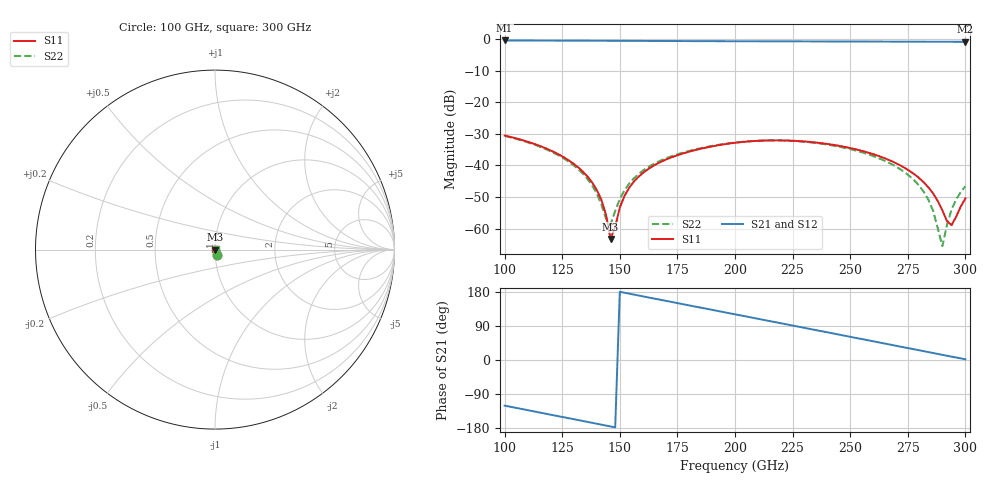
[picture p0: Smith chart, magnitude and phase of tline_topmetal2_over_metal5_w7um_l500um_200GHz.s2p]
#  GHZ S DB R 50
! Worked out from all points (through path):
!   101 points, 100 GHz to 300 GHz, reference 50 ohm
!   highest |S21| = -0.48 dB at 100 GHz (marker M1); lowest = -0.9 dB at 300 GHz (marker M2)
!   group delay of S21, straight-line fit = 3.3 ps
!   lowest |S11| = -63.2 dB at 146 GHz (marker M3), VSWR 1.00, Z = 50 - j0.0617 ohm
!   |S11| at or under -10 dB: start of sweep to end of sweep
!   |S22| runs from -65.5 to -30.7 dB; largest |S21 - S12| = 1.1e-14
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100  -30.52 -72.5  -0.48 -120.4  -0.48 -120.4  -30.65 -72.0
120  -35.26 -94.2  -0.53 -144.3  -0.53 -144.3  -35.55 -92.9
134  -41.96 -107.7  -0.56 -161.0  -0.56 -161.0  -42.62 -103.8
138  -45.38 -110.0  -0.57 -165.8  -0.57 -165.8  -46.32 -103.5
142  -50.86 -108.7  -0.58 -170.5  -0.58 -170.5  -52.32 -93.7
144  -55.57 -101.7  -0.58 -172.9  -0.58 -172.9  -56.83 -72.0
146  -63.20 -63.0  -0.59 -175.3  -0.59 -175.3  -58.58 -19.4
150  -53.31 33.7  -0.60 179.9  -0.60 179.9  -50.61 27.2
154  -47.12 37.9  -0.61 175.1  -0.61 175.1  -45.80 32.7
160  -42.37 34.9  -0.63 168.0  -0.63 168.0  -41.64 31.3
168  -38.80 28.2  -0.65 158.5  -0.65 158.5  -38.35 25.6
200  -32.83 -3.6  -0.73 120.6  -0.73 120.6  -32.75 -4.5
218  -32.06 -25.5  -0.76 99.2  -0.76 99.2  -32.09 -25.8
234  -32.66 -45.8  -0.79 80.2  -0.79 80.2  -32.81 -45.3
252  -34.82 -69.1  -0.82 58.9  -0.82 58.9  -35.22 -67.0
268  -38.64 -90.8  -0.85 39.8  -0.85 39.8  -39.59 -85.3
276  -41.82 -103.0  -0.86 30.3  -0.86 30.3  -43.49 -93.4
282  -45.38 -114.5  -0.88 23.2  -0.88 23.2  -48.39 -97.3
286  -48.87 -125.5  -0.88 18.4  -0.88 18.4  -54.38 -94.1
290  -54.18 -147.3  -0.89 13.7  -0.89 13.7  -65.50 -17.0
294  -58.86 143.1  -0.90 8.9  -0.90 8.9  -53.90 45.1
300  -50.42 77.5  -0.91 1.8  -0.91 1.8  -46.57 46.5
